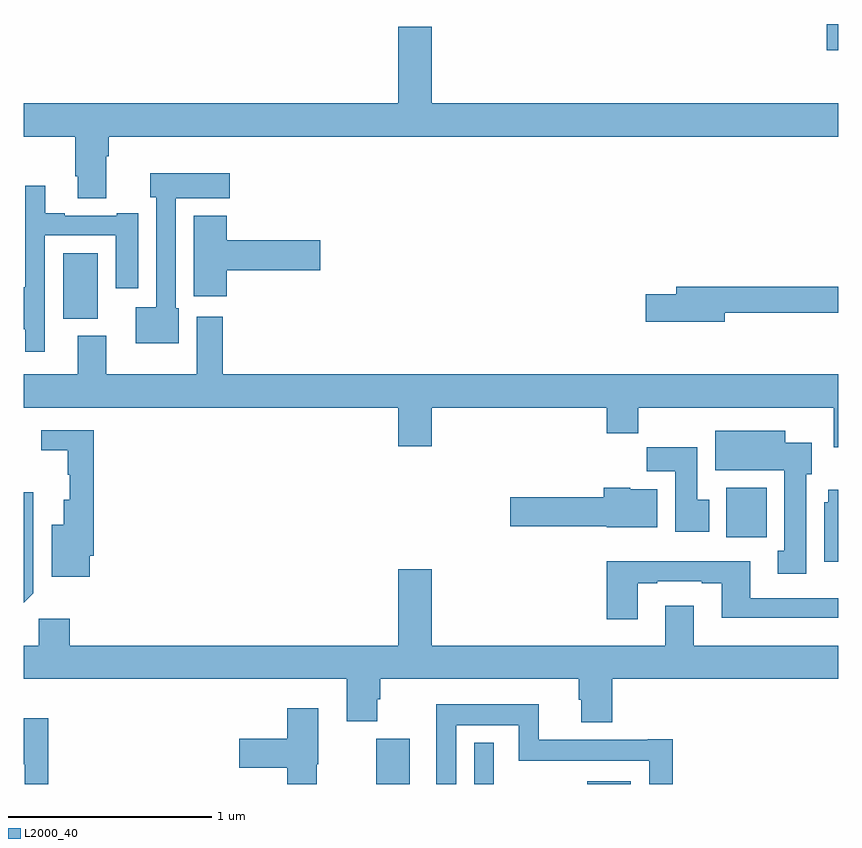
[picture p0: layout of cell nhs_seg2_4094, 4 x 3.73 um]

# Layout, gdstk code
import gdstk
lib = gdstk.Library(unit=1e-6, precision=1e-09)
def R(c, l, rs):  # rectangles x0, y0, x1, y1
    for r in rs: c.add(gdstk.rectangle(r[:2], r[2:], *l))
def P(c, l, *ps):  # polygons
    for p in ps: c.add(gdstk.Polygon(p, *l))
L2000_40 = (2000, 40)

nhs_seg2_4094 = lib.new_cell('nhs_seg2_4094')
R(nhs_seg2_4094, L2000_40, [(332.732,633.8,332.896,634.023), (333.213,633.8,333.309,634.003), (333.767,633.8,333.982,633.814), (334.451,635.012,334.648,635.254), (331.193,636.086,331.363,636.406), (334.944,637.403,335,637.533)])
P(nhs_seg2_4094, L2000_40, [(331.405,636.884),(331.418,636.884),(331.418,636.98),(335,636.98),(335,637.144),(333.004,637.144),(333.004,637.519),(332.84,637.519),(332.84,637.144),(331,637.144),(331,636.98),(331.253,636.98),(331.253,636.784),(331.265,636.784),(331.265,636.676),(331.405,636.676)],
  [(331.762,636.138),(331.746,636.138),(331.746,636.677),(332.011,636.677),(332.011,636.799),(331.622,636.799),(331.622,636.681),(331.65,636.681),(331.65,636.142),(331.55,636.142),(331.55,635.966),(331.762,635.966)],
  [(331.104,636.495),(331.451,636.495),(331.451,636.234),(331.561,636.234),(331.561,636.604),(331.457,636.604),(331.457,636.591),(331.201,636.591),(331.201,636.604),(331.105,636.604),(331.105,636.739),(331.008,636.739),(331.008,636.239),(331,636.239),(331,636.034),(331.006,636.034),(331.006,635.922),(331.104,635.922)],
  [(331.997,636.323),(332.455,636.323),(332.455,636.47),(331.997,636.47),(331.997,636.592),(331.835,636.592),(331.835,636.195),(331.997,636.195)],
  [(334.444,636.114),(335,636.114),(335,636.242),(334.205,636.242),(334.205,636.206),(334.056,636.206),(334.056,636.071),(334.444,636.071)],
  [(335,635.812),(331.976,635.812),(331.976,636.094),(331.85,636.094),(331.85,635.812),(331.405,635.812),(331.405,636.001),(331.265,636.001),(331.265,635.812),(331,635.812),(331,635.648),(332.84,635.648),(332.84,635.46),(333.004,635.46),(333.004,635.648),(333.863,635.648),(333.863,635.524),(334.019,635.524),(334.019,635.648),(334.979,635.648),(334.979,635.454),(335,635.454)],
  [(331.324,634.921),(331.343,634.921),(331.343,635.538),(331.086,635.538),(331.086,635.44),(331.215,635.44),(331.215,635.319),(331.226,635.319),(331.226,635.197),(331.196,635.197),(331.196,635.074),(331.136,635.074),(331.136,634.817),(331.324,634.817)],
  [(334.843,635.322),(334.87,635.322),(334.87,635.476),(334.741,635.476),(334.741,635.536),(334.397,635.536),(334.397,635.342),(334.736,635.342),(334.736,634.946),(334.703,634.946),(334.703,634.833),(334.843,634.833)],
  [(334.366,635.196),(334.309,635.196),(334.309,635.454),(334.06,635.454),(334.06,635.336),(334.199,635.336),(334.199,635.04),(334.366,635.04)],
  [(334.111,635.248),(333.978,635.248),(333.978,635.254),(333.848,635.254),(333.848,635.208),(333.39,635.208),(333.39,635.066),(333.864,635.066),(333.864,635.06),(334.111,635.06)],
  [(335,635.245),(334.952,635.245),(334.952,635.184),(334.931,635.184),(334.931,634.892),(335,634.892)],
  [(331.047,634.737),(331.047,635.233),(331,635.233),(331,634.69)],
  [(334.015,634.785),(334.111,634.785),(334.111,634.797),(334.331,634.797),(334.331,634.785),(334.427,634.785),(334.427,634.616),(335,634.616),(335,634.713),(334.567,634.713),(334.567,634.894),(333.863,634.894),(333.863,634.608),(334.015,634.608)],
  [(333.89,634.316),(335,634.316),(335,634.48),(334.291,634.48),(334.291,634.675),(334.151,634.675),(334.151,634.48),(333.004,634.48),(333.004,634.855),(332.84,634.855),(332.84,634.48),(331.226,634.48),(331.226,634.612),(331.074,634.612),(331.074,634.48),(331,634.48),(331,634.316),(332.585,634.316),(332.585,634.108),(332.737,634.108),(332.737,634.217),(332.75,634.217),(332.75,634.316),(333.725,634.316),(333.725,634.215),(333.737,634.215),(333.737,634.103),(333.89,634.103)],
  [(333.123,634.088),(333.432,634.088),(333.432,633.914),(334.071,633.914),(334.071,633.8),(334.187,633.8),(334.187,634.021),(334.064,634.021),(334.064,634.018),(333.53,634.018),(333.53,634.192),(333.026,634.192),(333.026,633.8),(333.123,633.8)],
  [(332.439,633.897),(332.446,633.897),(332.446,634.171),(332.294,634.171),(332.294,634.023),(332.058,634.023),(332.058,633.881),(332.294,633.881),(332.294,633.8),(332.439,633.8)],
  [(331.121,634.123),(331,634.123),(331,633.897),(331.005,633.897),(331.005,633.8),(331.121,633.8)])

lib.write_gds('nhs_seg2_4094.gds')
